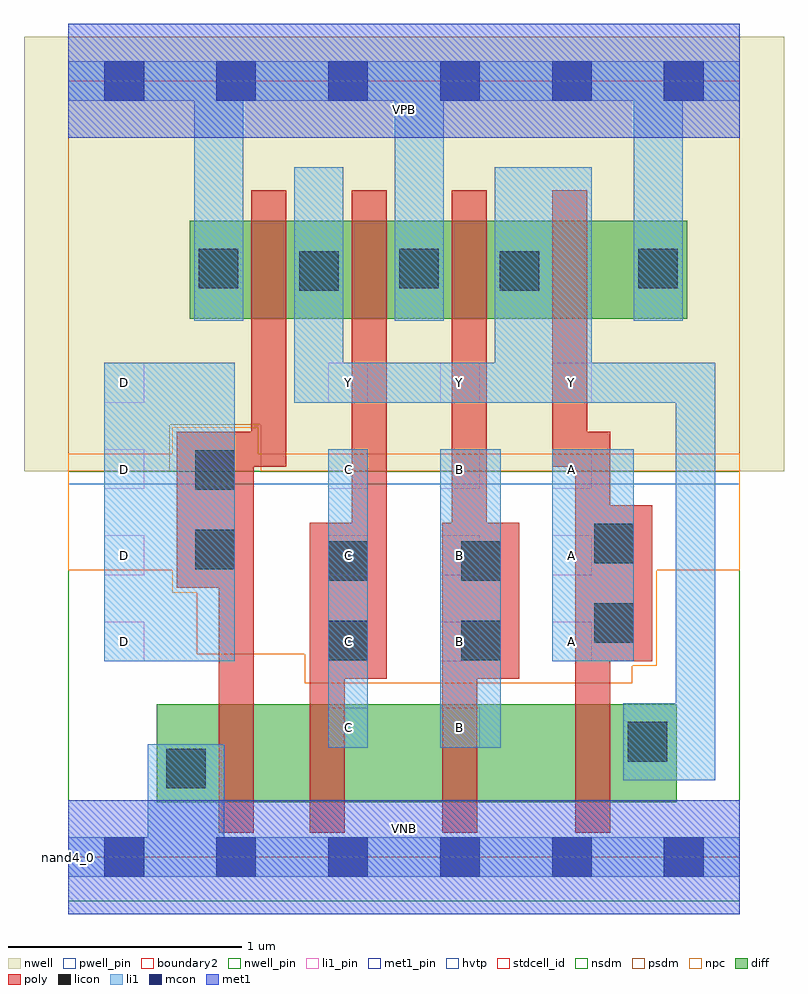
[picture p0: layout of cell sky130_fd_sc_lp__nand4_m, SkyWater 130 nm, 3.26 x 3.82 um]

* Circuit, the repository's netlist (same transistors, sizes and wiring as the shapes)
* Copyright 2020 The SkyWater PDK Authors
*
* Licensed under the Apache License, Version 2.0 (the "License");
* you may not use this file except in compliance with the License.
* You may obtain a copy of the License at
*
*     https://www.apache.org/licenses/LICENSE-2.0
*
* Unless required by applicable law or agreed to in writing, software
* distributed under the License is distributed on an "AS IS" BASIS,
* WITHOUT WARRANTIES OR CONDITIONS OF ANY KIND, either express or implied.
* See the License for the specific language governing permissions and
* limitations under the License.
*
* SPDX-License-Identifier: Apache-2.0

.SUBCKT sky130_fd_sc_lp__nand4_m A B C D VGND VNB VPB VPWR Y
*.PININFO A:I B:I C:I D:I VGND:I VNB:I VPB:I VPWR:I Y:O
MMP0 Y A VPWR VPB sky130_fd_pr__pfet_01v8_hvt m=1 w=0.42U l=0.15U mult=1 sa=0.265
+ sb=0.265 sd=0.28 area=0.063 perim=1.14
MMP1 Y B VPWR VPB sky130_fd_pr__pfet_01v8_hvt m=1 w=0.42U l=0.15U mult=1 sa=0.265
+ sb=0.265 sd=0.28 area=0.063 perim=1.14
MMP3 Y D VPWR VPB sky130_fd_pr__pfet_01v8_hvt m=1 w=0.42U l=0.15U mult=1 sa=0.265
+ sb=0.265 sd=0.28 area=0.063 perim=1.14
MMP2 Y C VPWR VPB sky130_fd_pr__pfet_01v8_hvt m=1 w=0.42U l=0.15U mult=1 sa=0.265
+ sb=0.265 sd=0.28 area=0.063 perim=1.14
MMN0 Y A sndA VNB sky130_fd_pr__nfet_01v8 m=1 w=0.42U l=0.15U mult=1 sa=0.265 sb=0.265
+ sd=0.28 area=0.063 perim=1.14
MMN1 sndA B sndB VNB sky130_fd_pr__nfet_01v8 m=1 w=0.42U l=0.15U mult=1 sa=0.265
+ sb=0.265 sd=0.28 area=0.063 perim=1.14
MMN2 sndB C sndC VNB sky130_fd_pr__nfet_01v8 m=1 w=0.42U l=0.15U mult=1 sa=0.265
+ sb=0.265 sd=0.28 area=0.063 perim=1.14
MMN3 sndC D VGND VNB sky130_fd_pr__nfet_01v8 m=1 w=0.42U l=0.15U mult=1 sa=0.265
+ sb=0.265 sd=0.28 area=0.063 perim=1.14
.ENDS sky130_fd_sc_lp__nand4_m

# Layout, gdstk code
import gdstk
lib = gdstk.Library(unit=1e-6, precision=1e-09)
def R(c, l, rs):  # rectangles x0, y0, x1, y1
    for r in rs: c.add(gdstk.rectangle(r[:2], r[2:], *l))
def A(c, l, x, y, w, h, nx, ny, dx, dy):  # array of equal rectangles
    R(c, l, [(x+i*dx, y+j*dy, x+i*dx+w, y+j*dy+h) for i in range(nx) for j in range(ny)])
def P(c, l, *ps):  # polygons
    for p in ps: c.add(gdstk.Polygon(p, *l))
nwell_pin = (64, 16)
nwell = (64, 20)
diff = (65, 20)
poly = (66, 20)
licon = (66, 44)
li1_pin = (67, 16)
li1 = (67, 20)
mcon = (67, 44)
met1_pin = (68, 16)
met1 = (68, 20)
hvtp = (78, 44)
stdcell_id = (81, 4)
nsdm = (93, 44)
psdm = (94, 20)
npc = (95, 20)
pwell_pin = (122, 16)
boundary2 = (236, 0)

sky130_fd_sc_lp__nand4_m = lib.new_cell('sky130_fd_sc_lp__nand4_m')
R(sky130_fd_sc_lp__nand4_m, nwell_pin, [(0,3.085,2.88,3.33)])
R(sky130_fd_sc_lp__nand4_m, nwell, [(-0.19,1.655,3.07,3.52)])
R(sky130_fd_sc_lp__nand4_m, diff, [(0.38,0.235,2.61,0.655), (0.52,2.31,2.655,2.73)])
P(sky130_fd_sc_lp__nand4_m, poly, [(0.935,2.86),(0.785,2.86),(0.785,1.825),(0.465,1.825),(0.465,1.155),(0.645,1.155),(0.645,0.105),(0.795,0.105),(0.795,1.675),(0.935,1.675)],
  [(1.365,2.86),(1.215,2.86),(1.215,1.435),(1.035,1.435),(1.035,0.105),(1.185,0.105),(1.185,0.765),(1.365,0.765)],
  [(1.935,1.435),(1.795,1.435),(1.795,2.86),(1.645,2.86),(1.645,1.435),(1.605,1.435),(1.605,0.105),(1.755,0.105),(1.755,0.765),(1.935,0.765)],
  [(2.505,1.51),(2.325,1.51),(2.325,1.825),(2.225,1.825),(2.225,2.86),(2.075,2.86),(2.075,1.675),(2.175,1.675),(2.175,0.105),(2.325,0.105),(2.325,0.84),(2.505,0.84)])
R(sky130_fd_sc_lp__nand4_m, licon, [(0.42,0.295,0.59,0.465), (2.4,0.41,2.57,0.58), (1.115,0.845,1.285,1.015), (1.685,0.845,1.855,1.015), (2.255,0.92,2.425,1.09), (1.115,1.185,1.285,1.355), (1.685,1.185,1.855,1.355), (0.545,1.235,0.715,1.405), (2.255,1.26,2.425,1.43), (0.545,1.575,0.715,1.745), (0.99,2.43,1.16,2.6), (1.85,2.43,2.02,2.6), (0.56,2.44,0.73,2.61), (1.42,2.44,1.59,2.61), (2.445,2.44,2.615,2.61)])
A(sky130_fd_sc_lp__nand4_m, li1_pin, 0.155, 0.84, 0.17, 0.17, 1, 4, 0, 0.37)
A(sky130_fd_sc_lp__nand4_m, li1_pin, 1.115, 0.84, 0.17, 0.17, 3, 4, 0.48, 0.37)
R(sky130_fd_sc_lp__nand4_m, li1_pin, [(1.115,0.47,1.285,0.64), (1.595,0.47,1.765,0.64)])
R(sky130_fd_sc_lp__nand4_m, li1, [(1.115,0.47,1.285,1.75), (1.595,0.47,1.855,1.75), (0.155,0.84,0.715,2.12), (2.075,0.84,2.425,1.75)])
P(sky130_fd_sc_lp__nand4_m, li1, [(2.425,2.3),(2.425,3.245),(1.61,3.245),(1.61,2.3),(1.4,2.3),(1.4,3.245),(0.75,3.245),(0.75,2.3),(0.54,2.3),(0.54,3.245),(0,3.245),(0,3.415),(2.88,3.415),(2.88,3.245),(2.635,3.245),(2.635,2.3)],
  [(0.34,0.085),(0.34,0.485),(0.67,0.485),(0.67,0.085),(2.88,0.085),(2.88,-0.085),(0,-0.085),(0,0.085)],
  [(1.18,2.12),(1.83,2.12),(1.83,2.96),(2.245,2.96),(2.245,2.12),(2.775,2.12),(2.775,0.33),(2.38,0.33),(2.38,0.66),(2.605,0.66),(2.605,1.95),(0.97,1.95),(0.97,2.96),(1.18,2.96)])
A(sky130_fd_sc_lp__nand4_m, mcon, 0.155, -0.085, 0.17, 0.17, 6, 2, 0.48, 3.33)
R(sky130_fd_sc_lp__nand4_m, met1_pin, [(0,0,2.88,0.245), (0,3.085,2.88,3.33)])
R(sky130_fd_sc_lp__nand4_m, met1, [(0,-0.245,2.88,0.245), (0,3.085,2.88,3.575)])
R(sky130_fd_sc_lp__nand4_m, hvtp, [(0,1.6,2.88,3.33)])
R(sky130_fd_sc_lp__nand4_m, stdcell_id, [(0,0,2.88,3.33)])
R(sky130_fd_sc_lp__nand4_m, nsdm, [(0,-0.19,2.88,1.655)])
P(sky130_fd_sc_lp__nand4_m, psdm, [(2.88,3.52),(0,3.52),(0,1.655),(0.435,1.655),(0.435,1.855),(0.825,1.855),(0.825,1.655),(2.88,1.655)])
P(sky130_fd_sc_lp__nand4_m, npc, [(2.88,1.73),(0.815,1.73),(0.815,1.845),(0.445,1.845),(0.445,1.73),(0,1.73),(0,1.23),(0.445,1.23),(0.445,1.135),(0.55,1.135),(0.55,0.87),(1.015,0.87),(1.015,0.745),(2.42,0.745),(2.42,0.82),(2.525,0.82),(2.525,1.23),(2.88,1.23)])
R(sky130_fd_sc_lp__nand4_m, pwell_pin, [(0,0,2.88,0.245)])
R(sky130_fd_sc_lp__nand4_m, boundary2, [(0,0,2.88,3.33)])
sky130_fd_sc_lp__nand4_m.add(gdstk.Label('VNB', (1.44,0.123), layer=64, texttype=59))
sky130_fd_sc_lp__nand4_m.add(gdstk.Label('VPB', (1.44,3.208), layer=64, texttype=5))
sky130_fd_sc_lp__nand4_m.add(gdstk.Label('nand4_0', (0,0), layer=83, texttype=44))
sky130_fd_sc_lp__nand4_m.add(gdstk.Label('VPWR', (1.44,3.208), layer=68, texttype=5))
sky130_fd_sc_lp__nand4_m.add(gdstk.Label('VGND', (1.44,0.123), layer=68, texttype=5))
sky130_fd_sc_lp__nand4_m.add(gdstk.Label('A', (2.16,0.925), layer=67, texttype=5))
sky130_fd_sc_lp__nand4_m.add(gdstk.Label('A', (2.16,1.295), layer=67, texttype=5))
sky130_fd_sc_lp__nand4_m.add(gdstk.Label('A', (2.16,1.665), layer=67, texttype=5))
sky130_fd_sc_lp__nand4_m.add(gdstk.Label('B', (1.68,0.555), layer=67, texttype=5))
sky130_fd_sc_lp__nand4_m.add(gdstk.Label('B', (1.68,0.925), layer=67, texttype=5))
sky130_fd_sc_lp__nand4_m.add(gdstk.Label('B', (1.68,1.295), layer=67, texttype=5))
sky130_fd_sc_lp__nand4_m.add(gdstk.Label('B', (1.68,1.665), layer=67, texttype=5))
sky130_fd_sc_lp__nand4_m.add(gdstk.Label('C', (1.2,0.555), layer=67, texttype=5))
sky130_fd_sc_lp__nand4_m.add(gdstk.Label('C', (1.2,0.925), layer=67, texttype=5))
sky130_fd_sc_lp__nand4_m.add(gdstk.Label('C', (1.2,1.295), layer=67, texttype=5))
sky130_fd_sc_lp__nand4_m.add(gdstk.Label('C', (1.2,1.665), layer=67, texttype=5))
sky130_fd_sc_lp__nand4_m.add(gdstk.Label('D', (0.24,0.925), layer=67, texttype=5))
sky130_fd_sc_lp__nand4_m.add(gdstk.Label('D', (0.24,1.295), layer=67, texttype=5))
sky130_fd_sc_lp__nand4_m.add(gdstk.Label('D', (0.24,1.665), layer=67, texttype=5))
sky130_fd_sc_lp__nand4_m.add(gdstk.Label('D', (0.24,2.035), layer=67, texttype=5))
sky130_fd_sc_lp__nand4_m.add(gdstk.Label('Y', (1.2,2.035), layer=67, texttype=5))
sky130_fd_sc_lp__nand4_m.add(gdstk.Label('Y', (1.68,2.035), layer=67, texttype=5))
sky130_fd_sc_lp__nand4_m.add(gdstk.Label('Y', (2.16,2.035), layer=67, texttype=5))

lib.write_gds('sky130_fd_sc_lp__nand4_m.gds')
